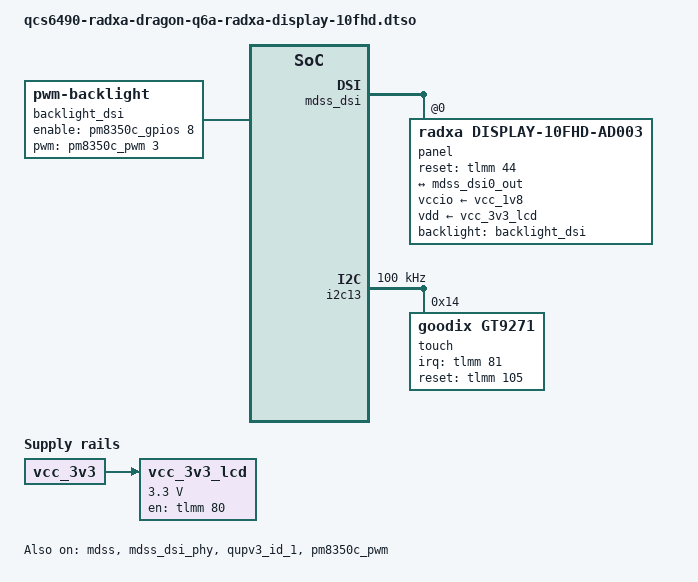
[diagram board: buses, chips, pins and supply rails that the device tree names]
// SPDX-License-Identifier: BSD-3-Clause
/*
 * Copyright (c) 2025 Radxa Computer (Shenzhen) Co., Ltd.
 */

/dts-v1/;
/plugin/;

#include <dt-bindings/gpio/gpio.h>
#include <dt-bindings/interrupt-controller/irq.h>
#include <dt-bindings/pinctrl/qcom,pmic-gpio.h>
#include <dt-bindings/pwm/pwm.h>

&{/} {
	vcc_3v3_lcd: vcc-3v3-lcd-regulator {
		compatible = "regulator-fixed";
		regulator-name = "vcc_3v3";
		regulator-min-microvolt = <3300000>;
		regulator-max-microvolt = <3300000>;
		gpio = <&tlmm 80 GPIO_ACTIVE_HIGH>;
		enable-active-high;
		vin-supply = <&vcc_3v3>;
	};

	backlight_dsi: backlight-dsi {
		compatible = "pwm-backlight";
		pwms = <&pm8350c_pwm 3 50000>;
		enable-gpios = <&pm8350c_gpios 8 GPIO_ACTIVE_HIGH>;
		pinctrl-names = "default";
		pinctrl-0 = <&lcd_bl_pwm>;
		brightness-levels = <255 0>;
		num-interpolated-steps = <255>;
		default-brightness-level = <250>;
	};
};

&mdss {
	status = "okay";
};

&mdss_dsi {
	vdda-supply = <&vreg_l6b_1p2>;
	#address-cells = <1>;
	#size-cells = <0>;

	status = "okay";

	panel: panel@0 {
		compatible = "radxa,display-10fhd-ad003";
		reg = <0>;
		backlight = <&backlight_dsi>;
		vccio-supply = <&vcc_1v8>;
		vdd-supply = <&vcc_3v3_lcd>;
		reset-gpios = <&tlmm 44 GPIO_ACTIVE_HIGH>;
		pinctrl-names = "default";
		pinctrl-0 = <&lcd_panel_reset>;

		port {
			panel0_in: endpoint {
				remote-endpoint = <&mdss_dsi0_out>;
			};
		};
	};
};

&mdss_dsi0_out {
	remote-endpoint = <&panel0_in>;
	data-lanes = <0 1 2 3>;
};

&mdss_dsi_phy {
	vdds-supply = <&vreg_l10c_0p88>;
	status = "okay";
};

&qupv3_id_1 {
       status = "okay";
};

&i2c13 {
	clock-frequency = <100000>;
	#address-cells = <1>;
	#size-cells = <0>;

	status = "okay";

	touch@14 {
		#gpio-cells = <2>;
		compatible = "goodix,gt9271";
		reg = <0x14>;
		interrupt-parent = <&tlmm>;
		interrupts = <81 IRQ_TYPE_LEVEL_HIGH>;
		irq-gpios = <&tlmm 81 IRQ_TYPE_LEVEL_HIGH>;
		reset-gpios = <&tlmm 105 GPIO_ACTIVE_HIGH>;
		pinctrl-names = "default";
		pinctrl-0 = <&ts_int_conn>, <&ts_rst_conn>;
	};
};

&tlmm {
	lcd_panel_reset: lcd-panel-reset {
		pins = "gpio44";
		function = "gpio";
		drive-strength = <8>;
		bias-disable;
	};

	ts_int_conn: ts-int-conn-state {
		pins = "gpio81";
		function = "gpio";
		bias-disable;
	};

	ts_rst_conn: ts-rst-conn-state {
		pins = "gpio105";
		function = "gpio";
		drive-strength = <2>;
		bias-disable;
	};
};

&pm8350c_gpios {
	lcd_bl_pwm: dsi-lcd-bl-pwm-state {
		pins = "gpio8";
		function = "func1";
		bias-disable;
		qcom,drive-strength = <PMIC_GPIO_STRENGTH_LOW>;
		output-low;
		power-source = <0>;
	};
};

&pm8350c_pwm {
	status = "okay";
};
